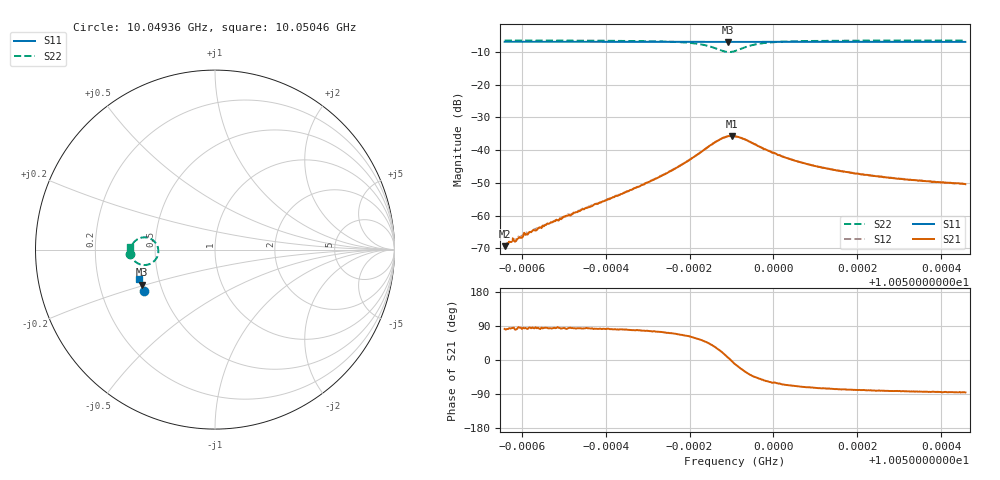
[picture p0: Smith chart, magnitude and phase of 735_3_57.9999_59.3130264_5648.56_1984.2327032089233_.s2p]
#  HZ  S  RI  R  50.00
! Rohde & Schwarz Vector Network Analyzer
! Rohde-Schwarz,ZNB20-2Port,1311601062101988,3.16
! Created: UTC 3/21/2024, 1:23:15 AM
! freq[Hz]  re:S11  im:S11  re:S21  im:S21  re:S12  im:S12  re:S22  im:S22
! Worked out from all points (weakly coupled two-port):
!   401 points, 10.04936 GHz to 10.05046 GHz, reference 50 ohm
!   highest |S21| = -35.67 dB at 10.0499 GHz (marker M1); lowest = -69.3 dB at 10.04936 GHz (marker M2)
!   lowest |S11| = -6.9 dB at 10.04989 GHz (marker M3), VSWR 2.64, Z = 19.7 - j9.71 ohm
!   |S11| at or under -10 dB: nowhere
!   |S22| runs from -10.0 to -6.5 dB; largest |S21 - S12| = 0.0011
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1.0049359e10  -0.3928 -0.2279  4.82e-05 0.000338  -9.59e-06 0.000363  -0.4739 -0.0241
1.0049367e10  -0.393 -0.2275  5.31e-05 0.000367  3.42e-05 0.000368  -0.4738 -0.0232
1.0049375e10  -0.3932 -0.2269  4.16e-05 0.000395  4.2e-05 0.000397  -0.4738 -0.0224
1.0049386e10  -0.3935 -0.2263  6.84e-05 0.000405  1.45e-05 0.000436  -0.4737 -0.0213
1.0049422e10  -0.3948 -0.224  6.14e-05 0.000556  3.76e-05 0.000556  -0.4734 -0.0179
1.004943e10  -0.395 -0.2237  6.5e-05 0.000593  5.56e-05 0.000619  -0.4734 -0.0169
1.0049543e10  -0.3984 -0.217  0.000152 0.00123  7.47e-05 0.00126  -0.472 -0.0037
1.0049658e10  -0.4019 -0.21  0.000466 0.00242  0.000317 0.00245  -0.4672 0.015
1.0049727e10  -0.4036 -0.2059  0.00105 0.00374  0.000867 0.00382  -0.459 0.0315
1.0049793e10  -0.4054 -0.2017  0.00293 0.00596  0.00263 0.00618  -0.437 0.0547
1.0049845e10  -0.4064 -0.1982  0.00806 0.00787  0.00766 0.00831  -0.3841 0.0679
1.0049875e10  -0.4065 -0.1966  0.0138 0.00569  0.0135 0.00641  -0.3323 0.0395
1.0049892e10  -0.4065 -0.1959  0.0163 0.00177  0.016 0.00271  -0.3161 -0.000436
1.00499e10  -0.4068 -0.1957  0.0164 -0.000671  0.0165 0.000338  -0.3169 -0.0231
1.0049908e10  -0.4069 -0.1956  0.016 -0.00305  0.0161 -0.00207  -0.3243 -0.0441
1.0049936e10  -0.408 -0.1944  0.0119 -0.00781  0.0123 -0.00701  -0.3712 -0.0831
1.0049974e10  -0.4096 -0.1922  0.00662 -0.00845  0.00696 -0.00818  -0.4238 -0.0797
1.0050026e10  -0.4113 -0.1891  0.00326 -0.00706  0.00368 -0.00691  -0.4532 -0.0578
1.0050092e10  -0.4131 -0.185  0.00177 -0.00559  0.00208 -0.00552  -0.4661 -0.037
1.0050169e10  -0.4153 -0.1802  0.000995 -0.0046  0.00127 -0.00451  -0.4711 -0.021
1.0050276e10  -0.4179 -0.1736  0.000536 -0.00373  0.000776 -0.00372  -0.4739 -0.00527
1.0050458e10  -0.422 -0.1625  0.000228 -0.00302  0.000408 -0.00302  -0.4748 0.0141
